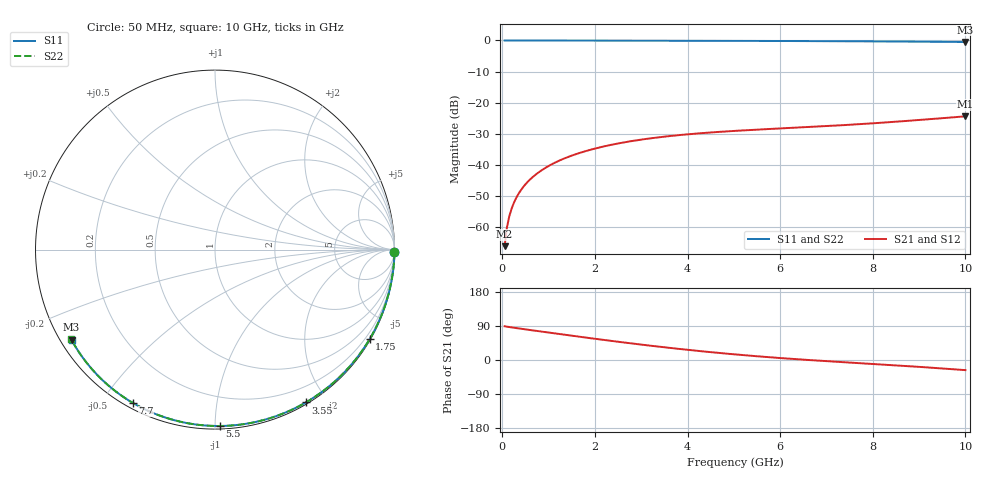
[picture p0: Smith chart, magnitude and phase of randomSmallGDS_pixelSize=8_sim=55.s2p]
! freq	dB(S11)	phase(S11)	dB(S12)	phase(S12)
!  dB(S21)	phase(S21)	dB(S22)	phase(S22)
!S-par simulation data
#  GHz  S  DB  R 50
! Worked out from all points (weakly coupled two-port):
!   200 points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, 50 MHz to 10 GHz, reference 50 ohm
!   highest |S21| = -24.34 dB at 10 GHz (marker M1); lowest = -66.0 dB at 50 MHz (marker M2)
!   lowest |S11| = -0.5 dB at 10 GHz (marker M3), VSWR 34.94, Z = 1.55 - j14.4 ohm
!   |S11| at or under -10 dB: nowhere
!   |S22| runs from -0.5 to 0.0 dB; largest |S21 - S12| = 0
!   S11 on the Smith chart (normalised r, x): 50 MHz: open; 1.75 GHz: 0.03, -3.73; 3.55 GHz: 0.02, -1.76; 5.5 GHz: 0.02, -1.03; 7.7 GHz: 0.02, -0.60; 10 GHz: 0.03, -0.29
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0.05  -0.00 -0.9  -66.00 89.0  -66.00 89.0  -0.00 -0.9
0.1  -0.00 -1.7  -59.99 88.0  -59.99 88.0  -0.00 -1.8
0.15  -0.00 -2.6  -56.48 87.0  -56.48 87.0  -0.00 -2.6
0.2  -0.00 -3.5  -54.00 86.0  -54.00 86.0  -0.00 -3.5
0.25  -0.00 -4.4  -52.08 85.1  -52.08 85.1  -0.00 -4.4
0.35  -0.00 -6.1  -49.20 83.4  -49.20 83.4  -0.00 -6.1
0.5  -0.01 -8.7  -46.15 80.8  -46.15 80.8  -0.01 -8.7
0.7  -0.01 -12.2  -43.28 77.5  -43.28 77.5  -0.01 -12.2
1  -0.02 -17.3  -40.27 72.4  -40.27 72.4  -0.02 -17.3
1.35  -0.03 -23.3  -37.79 66.6  -37.79 66.6  -0.03 -23.3
1.75  -0.04 -30.0  -35.71 60.0  -35.71 60.0  -0.04 -30.1
2.5  -0.06 -42.5  -33.05 48.1  -33.05 48.1  -0.06 -42.5
3.4  -0.08 -56.9  -31.03 34.9  -31.03 34.9  -0.08 -57.0
3.55  -0.08 -59.3  -30.78 32.9  -30.78 32.9  -0.08 -59.3
4.3  -0.10 -70.8  -29.74 23.1  -29.74 23.1  -0.10 -70.8
5.05  -0.13 -81.9  -28.99 14.5  -28.99 14.5  -0.13 -82.0
5.5  -0.15 -88.3  -28.61 9.9  -28.61 9.9  -0.15 -88.4
6.7  -0.21 -105.0  -27.71 -0.7  -27.71 -0.7  -0.21 -105.1
7.7  -0.27 -118.2  -26.87 -8.2  -26.87 -8.2  -0.27 -118.4
8.35  -0.33 -126.7  -26.22 -13.0  -26.22 -13.0  -0.33 -126.8
9.2  -0.41 -137.6  -25.29 -19.8  -25.29 -19.8  -0.41 -137.7
10  -0.50 -147.8  -24.34 -26.7  -24.34 -26.7  -0.50 -148.0
